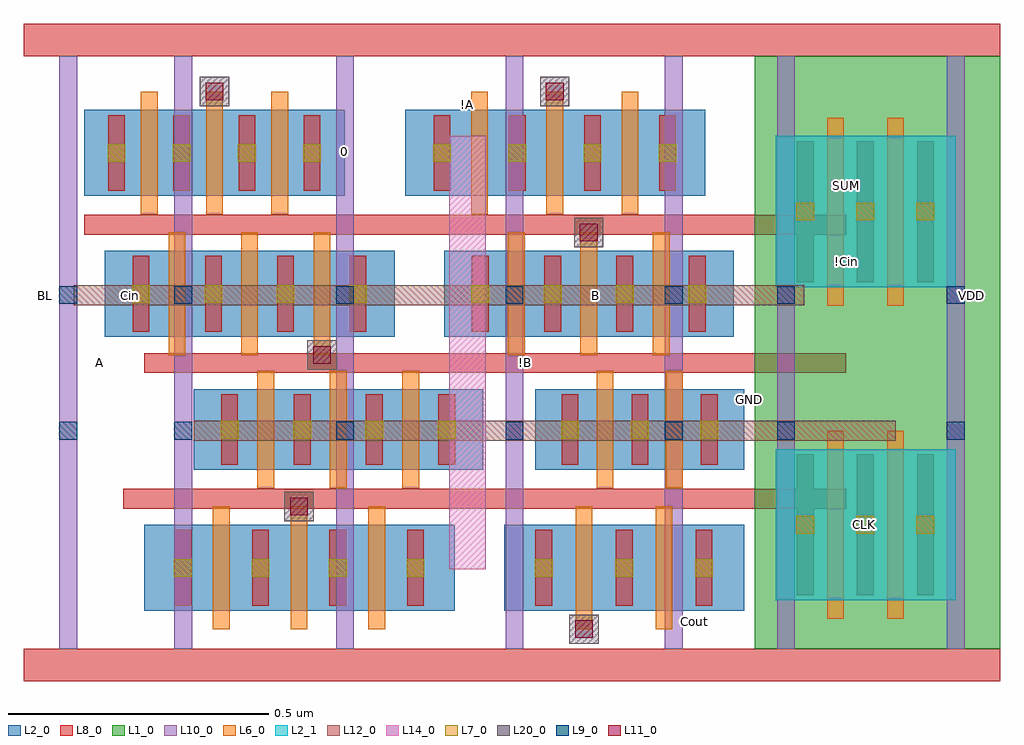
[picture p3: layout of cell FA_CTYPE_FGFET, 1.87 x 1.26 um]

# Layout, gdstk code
import gdstk
lib = gdstk.Library(unit=1e-6, precision=1e-09)
def R(c, l, rs):  # rectangles x0, y0, x1, y1
    for r in rs: c.add(gdstk.rectangle(r[:2], r[2:], *l))
def A(c, l, x, y, w, h, nx, ny, dx, dy):  # array of equal rectangles
    R(c, l, [(x+i*dx, y+j*dy, x+i*dx+w, y+j*dy+h) for i in range(nx) for j in range(ny)])
L1_0 = (1, 0)
L2_0 = (2, 0)
L2_1 = (2, 1)
L6_0 = (6, 0)
L7_0 = (7, 0)
L8_0 = (8, 0)
L9_0 = (9, 0)
L10_0 = (10, 0)
L11_0 = (11, 0)
L12_0 = (12, 0)
L14_0 = (14, 0)
L20_0 = (20, 0)

fa_ctype_fgfet = lib.new_cell('FA_CTYPE_FGFET')
R(fa_ctype_fgfet, L1_0, [(1.4,0.062,1.87,1.198)])
R(fa_ctype_fgfet, L2_0, [(0.23,0.135,0.825,0.3), (0.92,0.135,1.38,0.3), (0.325,0.405,0.88,0.56), (0.98,0.405,1.38,0.56), (0.155,0.66,0.71,0.825), (0.805,0.66,1.36,0.825), (0.115,0.93,0.615,1.095), (0.73,0.93,1.305,1.095)])
R(fa_ctype_fgfet, L2_1, [(1.44,0.155,1.785,0.445), (1.44,0.755,1.785,1.045)])
A(fa_ctype_fgfet, L6_0, 0.362, 0.1, 0.032, 0.235, 3, 1, 0.149, 0)
A(fa_ctype_fgfet, L6_0, 0.447, 0.37, 0.032, 0.225, 3, 1, 0.139, 0)
A(fa_ctype_fgfet, L6_0, 0.277, 0.625, 0.032, 0.235, 3, 1, 0.139, 0)
A(fa_ctype_fgfet, L6_0, 0.927, 0.625, 0.032, 0.235, 3, 1, 0.139, 0)
A(fa_ctype_fgfet, L6_0, 0.224, 0.895, 0.032, 0.235, 3, 1, 0.125, 0)
A(fa_ctype_fgfet, L6_0, 0.857, 0.895, 0.032, 0.235, 3, 1, 0.144, 0)
R(fa_ctype_fgfet, L6_0, [(1.057,0.1,1.089,0.335), (1.21,0.1,1.242,0.335), (1.539,0.12,1.571,0.48), (1.654,0.12,1.686,0.48), (1.097,0.37,1.129,0.595), (1.23,0.37,1.262,0.595), (1.539,0.72,1.571,1.08), (1.654,0.72,1.686,1.08)])
A(fa_ctype_fgfet, L7_0, 1.48, 0.283, 0.034, 0.034, 3, 2, 0.115, 0.6)
A(fa_ctype_fgfet, L7_0, 0.16, 0.995, 0.034, 0.034, 4, 1, 0.125, 0)
A(fa_ctype_fgfet, L7_0, 0.784, 0.995, 0.034, 0.034, 4, 1, 0.144, 0)
R(fa_ctype_fgfet, L7_0, [(0.287,0.2,0.321,0.234), (0.436,0.2,0.47,0.234), (0.584,0.2,0.618,0.234), (0.733,0.2,0.767,0.234), (0.979,0.2,1.013,0.234), (1.133,0.2,1.167,0.234), (1.286,0.2,1.32,0.234), (0.377,0.465,0.411,0.499), (0.516,0.465,0.55,0.499), (0.654,0.465,0.688,0.499), (0.793,0.465,0.827,0.499), (1.029,0.465,1.063,0.499), (1.163,0.465,1.197,0.499), (1.296,0.465,1.33,0.499), (0.207,0.725,0.241,0.759), (0.346,0.725,0.38,0.759), (0.484,0.725,0.518,0.759), (0.623,0.725,0.657,0.759), (0.857,0.725,0.891,0.759), (0.996,0.725,1.03,0.759), (1.134,0.725,1.168,0.759), (1.273,0.725,1.307,0.759)])
A(fa_ctype_fgfet, L8_0, 1.481, 0.165, 0.032, 0.27, 3, 2, 0.115, 0.6)
A(fa_ctype_fgfet, L8_0, 0.161, 0.94, 0.032, 0.145, 4, 1, 0.125, 0)
A(fa_ctype_fgfet, L8_0, 0.785, 0.94, 0.032, 0.145, 4, 1, 0.144, 0)
R(fa_ctype_fgfet, L8_0, [(0,0,1.87,0.062), (0.288,0.145,0.32,0.29), (0.437,0.145,0.469,0.29), (0.585,0.145,0.617,0.29), (0.734,0.145,0.766,0.29), (0.98,0.145,1.012,0.29), (1.134,0.145,1.166,0.29), (1.287,0.145,1.319,0.29), (0.19,0.331,1.575,0.369), (0.378,0.415,0.41,0.55), (0.517,0.415,0.549,0.55), (0.655,0.415,0.687,0.55), (0.794,0.415,0.826,0.55), (1.03,0.415,1.062,0.55), (1.164,0.415,1.196,0.55), (1.297,0.415,1.329,0.55), (0.23,0.591,1.575,0.629), (0.208,0.67,0.24,0.815), (0.347,0.67,0.379,0.815), (0.485,0.67,0.517,0.815), (0.624,0.67,0.656,0.815), (0.858,0.67,0.89,0.815), (0.997,0.67,1.029,0.815), (1.135,0.67,1.167,0.815), (1.274,0.67,1.306,0.815), (0.115,0.856,1.575,0.894), (0,1.198,1.87,1.26)])
R(fa_ctype_fgfet, L9_0, [(0.068,0.463,0.102,0.497), (0.288,0.463,0.322,0.497), (0.598,0.463,0.632,0.497), (0.923,0.463,0.957,0.497), (1.228,0.463,1.262,0.497), (1.443,0.463,1.477,0.497), (1.768,0.463,1.802,0.497), (0.068,0.723,0.102,0.757), (0.288,0.723,0.322,0.757), (0.598,0.723,0.632,0.757), (0.923,0.723,0.957,0.757), (1.228,0.723,1.262,0.757), (1.443,0.723,1.477,0.757), (1.768,0.723,1.802,0.757)])
R(fa_ctype_fgfet, L10_0, [(0.068,0.062,0.102,1.198), (0.288,0.062,0.322,1.198), (0.598,0.062,0.632,1.198), (0.923,0.062,0.957,1.198), (1.228,0.062,1.262,1.198), (1.443,0.062,1.477,1.198), (1.768,0.062,1.802,1.198)])
R(fa_ctype_fgfet, L11_0, [(1.056,0.083,1.09,0.117), (0.51,0.318,0.544,0.352), (0.554,0.608,0.588,0.642), (1.065,0.843,1.099,0.877), (0.348,1.113,0.382,1.147), (1,1.113,1.034,1.147)])
R(fa_ctype_fgfet, L12_0, [(0.325,0.461,1.67,0.499), (0.095,0.721,1.495,0.759)])
R(fa_ctype_fgfet, L14_0, [(0.815,0.215,0.885,1.045)])
R(fa_ctype_fgfet, L20_0, [(1.045,0.072,1.101,0.128), (0.499,0.307,0.555,0.363), (0.543,0.597,0.599,0.653), (1.054,0.832,1.11,0.888), (0.337,1.102,0.393,1.158), (0.989,1.102,1.045,1.158)])
fa_ctype_fgfet.add(gdstk.Label('BL', (0.042,0.74), layer=100, texttype=0))
fa_ctype_fgfet.add(gdstk.Label('Cin', (0.205,0.74), layer=100, texttype=0))
fa_ctype_fgfet.add(gdstk.Label('A', (0.145,0.61), layer=100, texttype=0))
fa_ctype_fgfet.add(gdstk.Label('0', (0.615,1.015), layer=100, texttype=0))
fa_ctype_fgfet.add(gdstk.Label('!A', (0.85,1.105), layer=100, texttype=0))
fa_ctype_fgfet.add(gdstk.Label('B', (1.095,0.74), layer=100, texttype=0))
fa_ctype_fgfet.add(gdstk.Label('!B', (0.96,0.61), layer=100, texttype=0))
fa_ctype_fgfet.add(gdstk.Label('SUM', (1.575,0.95), layer=100, texttype=0))
fa_ctype_fgfet.add(gdstk.Label('!Cin', (1.575,0.805), layer=100, texttype=0))
fa_ctype_fgfet.add(gdstk.Label('VDD', (1.815,0.74), layer=100, texttype=0))
fa_ctype_fgfet.add(gdstk.Label('GND', (1.39,0.54), layer=100, texttype=0))
fa_ctype_fgfet.add(gdstk.Label('CLK', (1.61,0.3), layer=100, texttype=0))
fa_ctype_fgfet.add(gdstk.Label('Cout', (1.285,0.115), layer=100, texttype=0))

lib.write_gds('FA_CTYPE_FGFET.gds')
